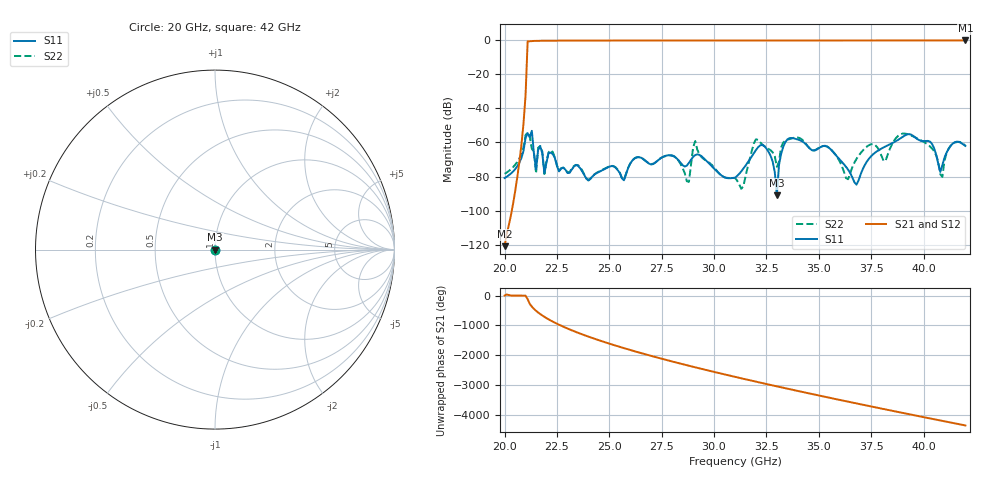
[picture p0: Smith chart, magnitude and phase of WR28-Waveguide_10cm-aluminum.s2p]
! Touchstone file exported from HFSS 2019.2.0
!  File:  C:/Users/jgarrett/Documents/Ansoft/Waveguide/WR28-Waveguide.aedt
!  Generated:  11:00:37 AM  Mar 17, 2021
!  Design:  10cm-aluminum
!  Project:  WR28-Waveguide
!  Setup:  Setup1
!  Solution:  Sweep
! Variables:
!  waveguideA = 280mil
!  waveguideB = 140mil
!  waveguideL = 10cm
!Data is not renormalized
# GHZ S MA
! Modal data exported
! Port[1] = 1:1
! Port[2] = 2:1
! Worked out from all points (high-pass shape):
!   221 points, 20 GHz to 42 GHz, reference per port
!   highest |S21| = -0.06 dB at 42 GHz (marker M1); lowest = -120.9 dB at 20 GHz (marker M2)
!   |S21| within 3 dB of the highest: 21.09 GHz to end of sweep
!   lowest |S11| = -91.0 dB at 33 GHz (marker M3), VSWR 1.00
!   |S11| at or under -10 dB: start of sweep to end of sweep
!   |S22| runs from -87.2 to -54.0 dB; largest |S21 - S12| = 1.3e-13
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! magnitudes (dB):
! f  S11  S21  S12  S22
! 20 GHz  -80.8  -120.9  -120.9  -78.4
! 20.6 GHz  -74.0  -80.8  -80.8  -71.5
! 20.9 GHz  -65.1  -49.2  -49.2  -63.0
! 21.1 GHz  -54.5  -0.6  -0.6  -54.0
! 21.5 GHz  -75.8  -0.3  -0.3  -78.1
! 21.7 GHz  -62.1  -0.3  -0.3  -62.0
! 21.9 GHz  -78.2  -0.2  -0.2  -78.5
! 22.2 GHz  -66.0  -0.2  -0.2  -64.4
! 23.7 GHz  -76.9  -0.1  -0.1  -76.3
! 27.4 GHz  -69.7  -0.1  -0.1  -69.6
! 28.8 GHz  -72.0  -0.1  -0.1  -83.1
! 29.1 GHz  -67.4  -0.1  -0.1  -59.1
! 31 GHz  -80.7  -0.1  -0.1  -80.8
! 32 GHz  -64.5  -0.1  -0.1  -58.1
! 33 GHz  -91.0  -0.1  -0.1  -74.3
! 33.5 GHz  -58.2  -0.1  -0.1  -58.4
! 34.7 GHz  -64.7  -0.1  -0.1  -64.6
! 36.9 GHz  -82.2  -0.1  -0.1  -67.8
! 38.4 GHz  -61.1  -0.1  -0.1  -63.6
! 39.8 GHz  -58.7  -0.1  -0.1  -58.2
! 40.9 GHz  -73.3  -0.1  -0.1  -80.2
! 42 GHz  -62.0  -0.1  -0.1  -62.1
